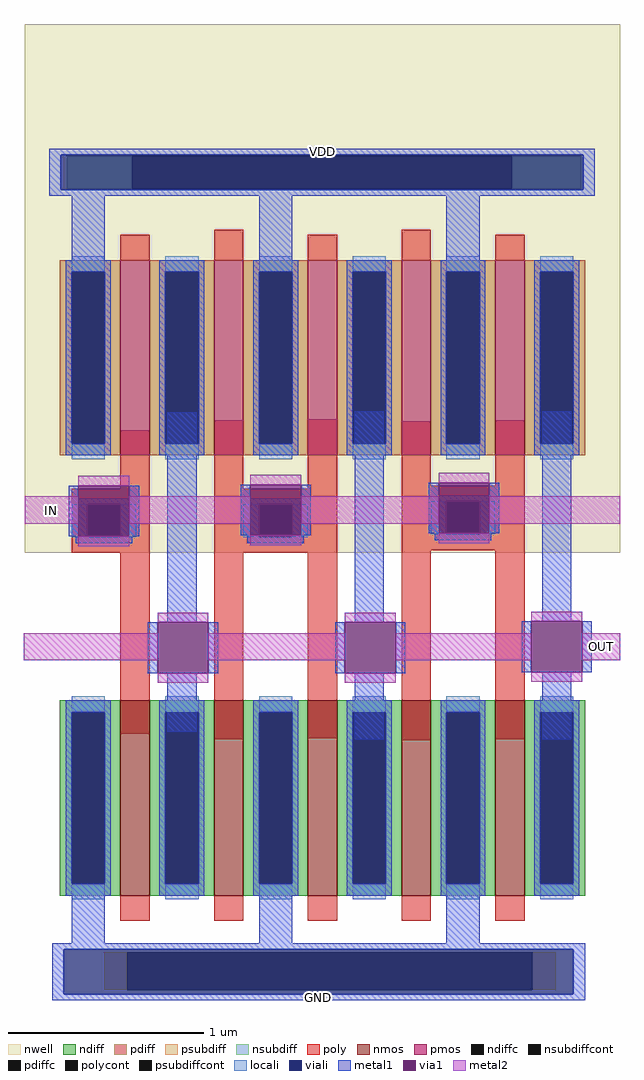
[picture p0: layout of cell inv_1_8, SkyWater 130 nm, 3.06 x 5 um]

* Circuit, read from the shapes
.subckt inv_1_8 GND IN OUT VDD
XM1 OUT IN GND GND sky130_fd_pr__nfet_01v8 w=1 l=0.15 m=5
XM2 OUT IN VDD VDD sky130_fd_pr__pfet_01v8 w=1 l=0.15 m=5
.ends

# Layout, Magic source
magic
tech sky130A
magscale 1 2
<< nwell >>
rect -10 839 600 1019
<< psubdiff >>
rect 71 29 95 68
rect 510 29 534 68
<< nsubdiff >>
rect 33 850 100 884
rect 489 850 560 884
<< psubdiffcont >>
rect 95 29 510 68
<< nsubdiffcont >>
rect 100 850 489 884
<< poly >>
rect 88 292 118 603
rect 184 286 214 613
rect 280 287 310 614
rect 376 285 406 612
rect 472 286 502 613
<< viali >>
rect 27 884 562 885
rect 27 850 100 884
rect 100 850 489 884
rect 489 850 562 884
rect 27 849 562 850
rect 30 68 552 71
rect 30 29 95 68
rect 95 29 510 68
rect 510 29 552 68
rect 30 25 552 29
<< metal1 >>
rect 15 885 574 891
rect 15 849 27 885
rect 562 849 574 885
rect 15 843 574 849
rect 38 776 72 843
rect 230 776 264 843
rect 422 775 456 843
rect 35 494 45 546
rect 97 494 107 546
rect 136 406 166 621
rect 211 495 221 547
rect 273 495 283 547
rect 328 406 358 622
rect 404 497 414 549
rect 466 497 476 549
rect 520 407 550 622
rect 116 354 126 406
rect 178 354 188 406
rect 308 354 318 406
rect 370 354 380 406
rect 499 355 509 407
rect 561 355 571 407
rect 136 294 166 354
rect 328 286 358 354
rect 520 286 550 355
rect 38 77 72 132
rect 230 77 264 132
rect 422 77 456 133
rect 18 71 564 77
rect 18 25 30 71
rect 552 25 564 71
rect 18 19 564 25
<< via1 >>
rect 45 494 97 546
rect 221 495 273 547
rect 414 497 466 549
rect 126 354 178 406
rect 318 354 370 406
rect 509 355 561 407
<< metal2 >>
rect 45 546 97 556
rect -10 507 45 535
rect 221 547 273 557
rect 97 507 221 535
rect 45 484 97 494
rect 414 549 466 559
rect 273 507 414 535
rect 221 485 273 495
rect 466 507 600 535
rect 414 487 466 497
rect 126 406 178 416
rect -11 367 126 395
rect 318 406 370 416
rect 178 367 318 395
rect 126 344 178 354
rect 509 407 561 417
rect 370 367 509 395
rect 318 344 370 354
rect 561 367 600 395
rect 509 345 561 355
use cont_poly_min  cont_poly_min_0
transform 1 0 71 0 1 444
box -33 33 33 99
use cont_poly_min  cont_poly_min_1
transform 1 0 247 0 1 444
box -33 33 33 99
use cont_poly_min  cont_poly_min_2
transform 1 0 439 0 1 447
box -33 33 33 99
use sky130_fd_pr__nfet_01v8_RBMM6F  sky130_fd_pr__nfet_01v8_RBMM6F_0
transform 1 0 295 0 1 226
box -269 -126 269 126
use sky130_fd_pr__pfet_01v8_5S5LDE  sky130_fd_pr__pfet_01v8_5S5LDE_0
transform 1 0 295 0 1 677
box -305 -200 305 200
<< labels >>
rlabel metal1 18 19 564 25 1 GND
rlabel metal2 561 367 600 395 1 OUT
rlabel metal2 -10 507 45 535 1 IN
rlabel metal1 15 885 574 891 1 VDD
<< end >>

# cell cont_poly_min: kit device sky130_fd_pr__nfet_01v8, w 0.420 l 0.150 m 1 nf 1 diffcov 100 polycov 100 guard 0 glc 0 grc 0 gtc 0 gbc 0 tbcov 100 rlcov 100 topc 1 botc 0 poverlap 0 doverlap 0 lmin 0.15 wmin 0.42 compatible {sky130_fd_pr__nfet_01v8 sky130_fd_pr__nfet_01v8_lvt sky130_fd_bs_flash__special_sonosfet_star sky130_fd_pr__nfet_g5v0d10v5 sky130_fd_pr__nfet_05v0_nvt sky130_fd_pr__nfet_03v3_nvt} full_metal 0 viasrc 100 viadrn 100 viagate 100 viagb 0 viagr 0 viagl 0 viagt 0

# cell sky130_fd_pr__nfet_01v8_RBMM6F: kit device sky130_fd_pr__nfet_01v8, w 1 l 0.150 m 1 nf 5 diffcov 100 polycov 100 guard 0 glc 0 grc 0 gtc 0 gbc 0 tbcov 100 rlcov 100 topc 0 botc 0 poverlap 0 doverlap 1 lmin 0.15 wmin 0.42 compatible {sky130_fd_pr__nfet_01v8 sky130_fd_pr__nfet_01v8_lvt sky130_fd_bs_flash__special_sonosfet_star sky130_fd_pr__nfet_g5v0d10v5 sky130_fd_pr__nfet_05v0_nvt sky130_fd_pr__nfet_03v3_nvt} full_metal 0 viasrc 100 viadrn 100 viagate 100 viagb 0 viagr 0 viagl 0 viagt 0

# cell sky130_fd_pr__pfet_01v8_5S5LDE: kit device sky130_fd_pr__pfet_01v8, w 1 l 0.15 m 1 nf 5 diffcov 100 polycov 100 guard 0 glc 0 grc 0 gtc 0 gbc 0 tbcov 100 rlcov 100 topc 0 botc 0 poverlap 0 doverlap 1 lmin 0.15 wmin 0.42 compatible {sky130_fd_pr__pfet_01v8 sky130_fd_pr__pfet_01v8_lvt sky130_fd_pr__pfet_01v8_hvt sky130_fd_pr__pfet_g5v0d10v5} full_metal 0 viasrc 100 viadrn 100 viagate 100 viagb 0 viagr 0 viagl 0 viagt 0
